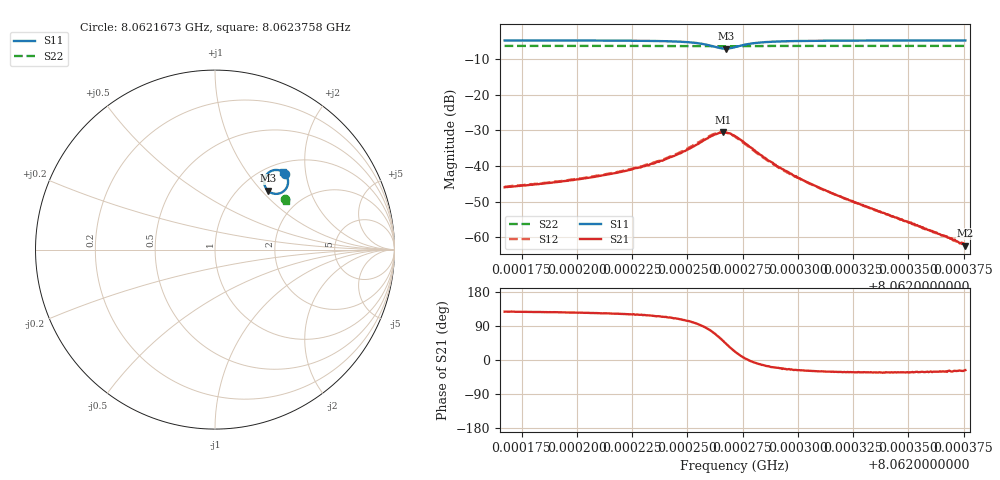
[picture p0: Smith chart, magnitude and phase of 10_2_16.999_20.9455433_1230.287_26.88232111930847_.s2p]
#  HZ  S  RI  R  50.00
! Rohde & Schwarz Vector Network Analyzer
! Rohde-Schwarz,ZNB20-2Port,1311601062101988,3.16
! Created: UTC 3/20/2024, 10:52:27 PM
! freq[Hz]  re:S11  im:S11  re:S21  im:S21  re:S12  im:S12  re:S22  im:S22
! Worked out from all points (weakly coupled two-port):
!   401 points, 8.0621673 GHz to 8.0623758 GHz, reference 50 ohm
!   highest |S21| = -30.55 dB at 8.0622664 GHz (marker M1); lowest = -62.3 dB at 8.0623758 GHz (marker M2)
!   lowest |S11| = -7.1 dB at 8.0622674 GHz (marker M3), VSWR 2.58, Z = 66.5 + j54.3 ohm
!   |S11| at or under -10 dB: nowhere
!   |S22| runs from -6.4 to -6.3 dB; largest |S21 - S12| = 0.004
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8.06216735e9  0.389 0.4233  -0.00308 0.004  -0.00285 0.00426  0.3919 0.2813
8.06218299e9  0.3916 0.4205  -0.00334 0.00448  -0.0031 0.00475  0.3925 0.2805
8.06220227e9  0.3953 0.4154  -0.00376 0.00547  -0.00352 0.00578  0.3931 0.2792
8.0622226e9  0.4007 0.4062  -0.00444 0.00739  -0.00408 0.00783  0.3938 0.2778
8.06223146e9  0.4036 0.399  -0.00477 0.00896  -0.00427 0.00958  0.3942 0.277
8.06223719e9  0.4056 0.3919  -0.00489 0.0103  -0.00431 0.0111  0.3943 0.2764
8.06224658e9  0.4071 0.3738  -0.00456 0.0143  -0.00354 0.0152  0.3942 0.2751
8.06225596e9  0.3949 0.3385  -0.000663 0.0214  0.00135 0.0222  0.3934 0.2732
8.06226221e9  0.3531 0.3117  0.00913 0.0259  0.0125 0.0253  0.3912 0.2729
8.06226638e9  0.3055 0.3204  0.0192 0.0226  0.0221 0.0199  0.3895 0.274
8.06226743e9  0.2947 0.3285  0.0213 0.0204  0.0238 0.0173  0.3893 0.2745
8.0622716e9  0.2739 0.3739  0.0243 0.00983  0.0249 0.00679  0.3896 0.2765
8.06227941e9  0.2985 0.4292  0.0176 -0.00138  0.0168 -0.00279  0.3917 0.2777
8.06228567e9  0.3217 0.4412  0.0122 -0.00343  0.0117 -0.00416  0.3931 0.2775
8.06229192e9  0.3371 0.4437  0.00885 -0.00356  0.0084 -0.00403  0.394 0.2771
8.06230652e9  0.3566 0.442  0.00484 -0.00266  0.00458 -0.00292  0.3952 0.2761
8.06232111e9  0.3662 0.4388  0.00303 -0.00187  0.00283 -0.00205  0.3959 0.2753
8.06234144e9  0.3736 0.4352  0.00173 -0.00111  0.00166 -0.0012  0.3968 0.274
8.06236646e9  0.3791 0.4321  0.000895 -0.000532  0.00087 -0.000584  0.3977 0.2727
8.06237115e9  0.3798 0.4315  0.000814 -0.000446  0.000755 -0.000478  0.3978 0.2723
8.06237428e9  0.3804 0.4311  0.000708 -0.00039  0.000716 -0.000448  0.398 0.2721
8.06237584e9  0.3806 0.4309  0.000687 -0.000346  0.000664 -0.000358  0.3981 0.272
